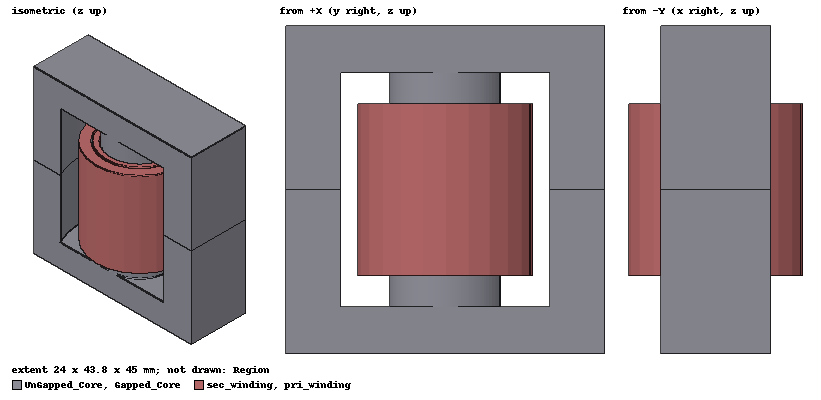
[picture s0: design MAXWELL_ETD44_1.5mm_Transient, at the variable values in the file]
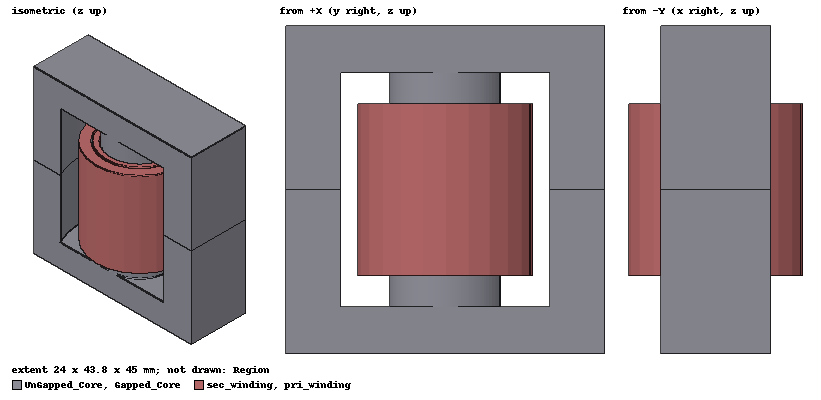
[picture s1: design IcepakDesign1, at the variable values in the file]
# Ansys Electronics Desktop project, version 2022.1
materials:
  copper: permeability=0.999991 conductivity=58000000 thermal_conductivity=400 mass_density=8933 specific_heat=385 youngs_modulus=120000000000 poissons_ratio=0.38 thermal_expansion_coefficient=1.77e-05
  ferrite_N87_ETD44: permittivity=12 permeability=1650 conductivity=0.01 thermal_conductivity=4 mass_density=4600 specific_heat=750 youngs_modulus=119000000000 thermal_expansion_coefficient=1e-05
  vacuum: permittivity=1
  Ferrite_N87_ETD45_Coreloss: permittivity=12 permeability=1650 conductivity=0.01 thermal_conductivity=4 core_loss_type="B-P Curve" mass_density=4600 specific_heat=750 youngs_modulus=119000000000 thermal_expansion_coefficient=1e-05 core_loss_equiv_cut_depth=0.001meter core_loss_curves{PUnit=kw/m^3 BUnit=mTesla Frequency=100kHz Thickness=0.5mm BPCoordinates{DimUnits("", "") Points(0, 0, 30, 2, 40, 4, 50, 8, 60, 15, 70, 20, 80, 30, 90, 40, 100, 50, 200, 300)}}
  air: permittivity=1.0006 permeability=1.0000004 thermal_conductivity=0.0261 mass_density=1.1614 specific_heat=1005 thermal_expansion_coefficient=0.00333 thermal_material_type=Fluid diffusivity=2.88e-05 molecular_mass=0.028966 viscosity=1.84e-05 material_refractive_index=1.000293
  Al-Extruded: thermal_conductivity=205 mass_density=2800 specific_heat=900 youngs_modulus=69000000000 poissons_ratio=0.33 thermal_expansion_coefficient=2.277e-06 thermal_material_type=Solid
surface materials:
  Steel-oxidised-surface: surface_emissivity=0.8

design MAXWELL_ETD44_1.5mm_Transient (Maxwell 3D, Transient, model units mm)
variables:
  gap = 0mm
  air_gap = 1.5mm
  coil_current = 276A
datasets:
  Pri: (0, 2.7300081) (1e-07, 2.7625636) (2e-07, 2.7951192) (3e-07, 2.8276747) (4e-07, 2.8602303) (5e-07, 2.8927859) (6e-07, 2.9253414) (7e-07, 2.957897) (8e-07, 2.9904525) (9e-07, 3.0230081) (1e-06, 3.0555636) (1.1e-06, 3.0881192) (1.2e-06, 3.1206747) (1.3e-06, 3.1532303) (1.4e-06, 3.1857858) (1.5e-06, 3.2183414) (1.6e-06, 3.250897) (1.7e-06, 3.2834525) (1.8e-06, 0) (1.9e-06, 0) (2e-06, 0) (2.1e-06, 0) (2.2e-06, 0) (2.3e-06, 0) (2.4e-06, 0) (2.5e-06, 0) (2.6e-06, 0) (2.7e-06, 0) (2.8e-06, 0) (2.9e-06, 0) (3e-06, 0) (3.1e-06, 0) (3.2e-06, 0) (3.3e-06, 0) (3.4e-06, 0) (3.5e-06, 0) (3.6e-06, 0) (3.7e-06, 0) (3.8e-06, 0) (3.9e-06, 0) (4e-06, 0) (4.1e-06, 0) (4.2e-06, 0) (4.3e-06, 0) (4.4e-06, 0) (4.5e-06, 0) (4.6e-06, 0) (4.7e-06, 0) (4.8e-06, 0) (4.9e-06, 0) (5e-06, 0) (5.1e-06, 0) (5.2e-06, 0) (5.3e-06, 0) (5.4e-06, 0) (5.5e-06, 0) (5.6e-06, 0) (5.7e-06, 0) (5.8e-06, 0) (5.9e-06, 0) (6e-06, 0) (6.1e-06, 0) (6.2e-06, 0) (6.3e-06, 0) (6.4e-06, 0) (6.5e-06, 0) (6.6e-06, 0) (6.7e-06, 0) (6.8e-06, 0) (6.9e-06, 0) (7e-06, 0) (7.1e-06, 0) (7.2e-06, 0) (7.3e-06, 0) (7.4e-06, 0) (7.5e-06, 0) (7.6e-06, 0) (7.7e-06, 0) (7.8e-06, 0) (7.9e-06, 0) (8e-06, 0) (8.1e-06, 0) (8.2e-06, 0) (8.3e-06, 0) (8.4e-06, 0) (8.5e-06, 0) (8.6e-06, 0) (8.7e-06, 0) (8.8e-06, 0) (8.9e-06, 0) (9e-06, 0) (9.1e-06, 0) (9.2e-06, 0) (9.3e-06, 0) (9.4e-06, 0) (9.5e-06, 0) (9.6e-06, 0) (9.7e-06, 0) (9.8e-06, 0) (9.9e-06, 0) (1e-05, 2.7300081) (1.01e-05, 2.7625636) (1.02e-05, 2.7951192) (1.03e-05, 2.8276747) (1.04e-05, 2.8602303) (1.05e-05, 2.8927859) (1.06e-05, 2.9253414) (1.07e-05, 2.957897) (1.08e-05, 2.9904525) (1.09e-05, 3.0230081) (1.1e-05, 3.0555636) (1.11e-05, 3.0881192) (1.12e-05, 3.1206747) (1.13e-05, 3.1532303) (1.14e-05, 3.1857858) (1.15e-05, 3.2183414) (1.16e-05, 3.250897) (1.17e-05, 3.2834525) (1.18e-05, 0) (1.19e-05, 0)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
  Sec: (0, -1.3855501e-12) (1e-07, -1.3855383e-12) (2e-07, -1.3855248e-12) (3e-07, -1.3855114e-12) (4e-07, -1.3854979e-12) (5e-07, -1.3854845e-12) (6e-07, -1.385471e-12) (7e-07, -1.3854576e-12) (8e-07, -1.3854441e-12) (9e-07, -1.3854307e-12) (1e-06, -1.3854172e-12) (1.1e-06, -1.3854038e-12) (1.2e-06, -1.3853903e-12) (1.3e-06, -1.3853769e-12) (1.4e-06, -1.3853634e-12) (1.5e-06, -1.38535e-12) (1.6e-06, -1.3853365e-12) (1.7e-06, -1.3853231e-12) (1.8e-06, 8.4516897) (1.9e-06, 8.4333752) (2e-06, 8.4150604) (2.1e-06, 8.3967454) (2.2e-06, 8.3784301) (2.3e-06, 8.3601144) (2.4e-06, 8.3417985) (2.5e-06, 8.3234823) (2.6e-06, 8.3051658) (2.7e-06, 8.286849) (2.8e-06, 8.2685319) (2.9e-06, 8.2502145) (3e-06, 8.2318968) (3.1e-06, 8.2135789) (3.2e-06, 8.1952606) (3.3e-06, 8.1769421) (3.4e-06, 8.1586233) (3.5e-06, 8.1403042) (3.6e-06, 8.1219849) (3.7e-06, 8.1036653) (3.8e-06, 8.0853454) (3.9e-06, 8.0670253) (4e-06, 8.0487049) (4.1e-06, 8.0303842) (4.2e-06, 8.0120633) (4.3e-06, 7.9937422) (4.4e-06, 7.9754208) (4.5e-06, 7.9570992) (4.6e-06, 7.9387773) (4.7e-06, 7.9204552) (4.8e-06, 7.9021328) (4.9e-06, 7.8838102) (5e-06, 7.8654874) (5.1e-06, 7.8471644) (5.2e-06, 7.8288411) (5.3e-06, 7.8105176) (5.4e-06, 7.7921939) (5.5e-06, 7.77387) (5.6e-06, 7.7555459) (5.7e-06, 7.7372216) (5.8e-06, 7.718897) (5.9e-06, 7.7005723) (6e-06, 7.6822473) (6.1e-06, 7.6639222) (6.2e-06, 7.6455968) (6.3e-06, 7.6272713) (6.4e-06, 7.6089456) (6.5e-06, 7.5906197) (6.6e-06, 7.5722936) (6.7e-06, 7.5539673) (6.8e-06, 7.5356408) (6.9e-06, 7.5173142) (7e-06, 7.4989874) (7.1e-06, 7.4806604) (7.2e-06, 7.4623333) (7.3e-06, 7.444006) (7.4e-06, 7.4256785) (7.5e-06, 7.4073509) (7.6e-06, 7.3890232) (7.7e-06, 7.3706952) (7.8e-06, 7.3523671) (7.9e-06, 7.3340389) (8e-06, 7.3157106) (8.1e-06, 7.2973821) (8.2e-06, 7.2790534) (8.3e-06, 7.2607246) (8.4e-06, 7.2423957) (8.5e-06, 7.2240667) (8.6e-06, 7.2057375) (8.7e-06, 7.1874082) (8.8e-06, 7.1690788) (8.9e-06, 7.1507493) (9e-06, 7.1324196) (9.1e-06, 7.1140899) (9.2e-06, 7.09576) (9.3e-06, 7.07743) (9.4e-06, 7.0591) (9.5e-06, 7.0407698) (9.6e-06, 7.0224395) (9.7e-06, 7.0041091) (9.8e-06, 6.9857787) (9.9e-06, 6.9674481) (1e-05, -1.3855501e-12) (1.01e-05, -1.3855383e-12) (1.02e-05, -1.3855248e-12) (1.03e-05, -1.3855114e-12) (1.04e-05, -1.3854979e-12) (1.05e-05, -1.3854845e-12) (1.06e-05, -1.385471e-12) (1.07e-05, -1.3854576e-12) (1.08e-05, -1.3854441e-12) (1.09e-05, -1.3854307e-12) (1.1e-05, -1.3854172e-12) (1.11e-05, -1.3854038e-12) (1.12e-05, -1.3853903e-12) (1.13e-05, -1.3853769e-12) (1.14e-05, -1.3853634e-12) (1.15e-05, -1.38535e-12) (1.16e-05, -1.3853365e-12) (1.17e-05, -1.3853231e-12) (1.18e-05, 8.4516897) (1.19e-05, 8.4333752)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
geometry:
  Core_A = box(corner=(0mm, 0mm, 0mm), size=(15.2mm, 43.8mm, 22.5mm))
  Cylinder1 = cylinder(axis=Z, base_centre=(7.6mm, 21.9mm, 6.4mm), radius=16.25mm, height=16.1mm)
  Core_A.subtract(Cylinder1)
  UnGapped_Core [Ferrite_N87_ETD45_Coreloss] = cylinder(axis=Z, base_centre=(7.6mm, 21.9mm, 0mm), radius=7.6mm, height=22.5mm)
  UnGapped_Core.unite(Core_A)
  Gapped_Core [Ferrite_N87_ETD45_Coreloss] = box(corner=(0mm, 0mm, 45mm), size=(15.2mm, 43.8mm, -22.5mm))
  Cylinder2 = cylinder(axis=Z, base_centre=(7.6mm, 21.9mm, 22.5mm), radius=16.25mm, height=16.1mm)
  Gapped_Core.subtract(Cylinder2)
  Cylinder3 = cylinder(axis=Z, base_centre=(7.6mm, 21.9mm, 45mm), radius=7.6mm, height=-22.5mm + air_gap)
  Gapped_Core.unite(Cylinder3)
  Region [air] = region(percentage_offset=100 on all sides)
  B_Area [non-model] = circle(normal=Z, centre=(7.6mm, 21.9mm, 22.5mm), radius=40mm)
  point Point1 = (7.6mm, 21.9mm, 22.5mm)
  Polyline1 [non-model] = polyline((8mm, 0mm, 22.5mm) (8mm, 44mm, 22.5mm))
  Polyline2 [non-model] = polyline((7mm, 14mm, 22.5mm) (7mm, 30mm, 22.5mm))
  coordinate_system Coil_Term_Ref = origin=(7.6mm, 0mm, 0mm) x=(1mm, 0mm, 0mm) y=(0mm, 1mm, 0mm)
  coordinate_system coil_winding_ref = origin=(7.6mm, 21.9mm, 9.4mm) x=(1mm, 0mm, 0mm) y=(0mm, 1mm, 0mm)
  RegularPolyhedron1 = polyhedron(axis=Z, centre=(0mm, 0mm, 1.35mm), first_corner=(0mm, 8mm, 0mm), sides=24, height=23.5mm) in coil_winding_ref
  pri_winding [copper] = polyhedron(axis=Z, centre=(0mm, 0mm, 1.35mm), first_corner=(0mm, 9.2mm, 0mm), sides=24, height=23.5mm) in coil_winding_ref
  pri_winding.subtract(RegularPolyhedron1)
  RegularPolyhedron3 = polyhedron(axis=Z, centre=(0mm, 0mm, 1.35mm), first_corner=(0mm, 9.6mm, 0mm), sides=24, height=23.5mm) in coil_winding_ref
  sec_winding [copper] = polyhedron(axis=Z, centre=(0mm, 0mm, 1.35mm), first_corner=(0mm, 12mm, 0mm), sides=24, height=23.5mm) in coil_winding_ref
  sec_winding.subtract(RegularPolyhedron3)
  pri_term [copper] = pri_winding.section(plane=YZ) in Coil_Term_Ref
  sec_term [copper] = sec_winding.section(plane=YZ) in Coil_Term_Ref
  pri_term.separate_bodies()
  sec_term.separate_bodies()
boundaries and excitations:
  pri_coil_term: Coil Terminal Objects=pri_term Conductor_number=69 Winding=Pri Point_out_of_terminal=false
  sec_coil_term: Coil Terminal Objects=sec_term Conductor_number=27 Winding=Sec Point_out_of_terminal=false
  Pri: Winding Group Type=Current IsSolid=false Current=pwl(Pri,Time) ParallelBranchesNum=1
  Sec: Winding Group Type=Current IsSolid=false Current=pwl(Sec,Time) ParallelBranchesNum=1
  core loss on: UnGapped_Core, Gapped_Core
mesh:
  Length1: LengthBased RefineInside Objects=[Gapped_Core, UnGapped_Core] NumMaxElem=5000
  Length2: LengthBased RefineInside Objects=[pri_winding, sec_winding] NumMaxElem=2000
  initial mesh: GlobalCurvilinear{Apply}
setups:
  Setup1: Transient NonlinearSolverResidual=1e-06 ScalarPotential="Second Order" StopTime=40us TimeStep=100ns SaveFieldsType="Every N Steps" N_Steps=1 Steps_From=0s Steps_To=40us NumberSolveSteps=1 RangeStart=0s RangeEnd=0.1s
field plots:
  B_Vector1: B in Gapped_Core, UnGapped_Core on Setup1 : Transient at Time=-1
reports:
  Winding Plot 1: InputCurrent(Pri), InputCurrent(Sec) vs Time on Setup1 : Transient
  Loss Plot 1: CoreLoss vs Time on Setup1 : Transient
  Loss Plot 2: CoreLoss vs Time on Setup1 : Transient
  Loss Plot 3: CoreLoss, StrandedLoss vs Time on Setup1 : Transient

design flyback (Twin Builder)
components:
  PWM1 = PWM(DC=0.18 PERIOD=10us VAL=0 PHASE=0deg TD=0us)
  D1 = D(RR=100000GOhm I=0)
  C1 = C(UseInitialConditions=true C=470uF)
  R3 = R(R=3.84ohm)
  ramp1 = ramp(duration=2m amp=293)
  TFR1P2W1 = TFR1P2W(IP0=0 IS0=0 LM=900uH LS1=0H LS2=0H KTR=0.39 I1=0 I2=0)
  S1 = S(CTRL=PWM1.VAL I=0)
  Excitations2 = ExcitationComponent1(Pri=S1.I Sec=D1.I)
  EC1 = EC(QUANT=ramp1.val)
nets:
  0: TFR1P2W1.3, C1.1, EC1.0, R3.1, S1.1
  net_1: TFR1P2W1.0, EC1.1
  net_12: TFR1P2W1.2, D1.0
  net_13: ramp1.val, EC1.QUANT
  net_16: Excitations2.Pri, S1.I
  net_17: Excitations2.Sec, D1.I
  net_3: TFR1P2W1.1, S1.0
  net_5: PWM1.VAL, S1.CTRL
  net_9: C1.0, D1.1, R3.0
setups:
  TR: TransientData(100ms, 100ns, 100ns, false, "")
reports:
  XY Plot 1: R3.V vs Time on TR : TR
  XY Plot 2: D1.I, S1.I vs Time on TR : TR

design IcepakDesign1 (Icepak, SteadyState TemperatureAndFlow, model units mm)
options: Default_Fluid_Material=air Default_Solid_Material=Al-Extruded Default_Surface_Material=Steel-oxidised-surface AmbientTemperature=20cel AmbientPressure=0n_per_meter_sq AmbientRadiationTemperature=20cel Gravity_Vector_CS_ID=Global Gravity_Vector_Axis=Z Positive=false
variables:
  air_gap = 1.5mm
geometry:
  Region [air] = region(percentage_offset: +X=100, -X=100, +Y=100, -Y=100, +Z=200, -Z=50)
  UnGapped_Core [Ferrite_N87_ETD45_Coreloss] = cylinder(axis=Z, base_centre=(7.6mm, 21.9mm, 0mm), radius=7.6mm, height=22.5mm)
  Core_A = box(corner=(0mm, 0mm, 0mm), size=(15.2mm, 43.8mm, 22.5mm))
  Cylinder1 = cylinder(axis=Z, base_centre=(7.6mm, 21.9mm, 6.4mm), radius=16.25mm, height=16.1mm)
  Core_A.subtract(Cylinder1)
  UnGapped_Core.unite(Core_A)
  Gapped_Core [Ferrite_N87_ETD45_Coreloss] = box(corner=(0mm, 0mm, 45mm), size=(15.2mm, 43.8mm, -22.5mm))
  Cylinder2 = cylinder(axis=Z, base_centre=(7.6mm, 21.9mm, 22.5mm), radius=16.25mm, height=16.1mm)
  Gapped_Core.subtract(Cylinder2)
  Cylinder3 = cylinder(axis=Z, base_centre=(7.6mm, 21.9mm, 45mm), radius=7.6mm, height=-22.5mm + air_gap)
  Gapped_Core.unite(Cylinder3)
  coordinate_system coil_winding_ref = origin=(7.6mm, 21.9mm, 9.4mm) x=(1mm, 0mm, 0mm) y=(0mm, 1mm, 0mm)
  pri_winding [copper] = polyhedron(axis=Z, centre=(0mm, 0mm, 1.35mm), first_corner=(0mm, 9.2mm, 0mm), sides=24, height=23.5mm) in coil_winding_ref
  RegularPolyhedron1 = polyhedron(axis=Z, centre=(0mm, 0mm, 1.35mm), first_corner=(0mm, 8mm, 0mm), sides=24, height=23.5mm) in coil_winding_ref
  pri_winding.subtract(RegularPolyhedron1)
  coordinate_system Coil_Term_Ref = origin=(7.6mm, 0mm, 0mm) x=(1mm, 0mm, 0mm) y=(0mm, 1mm, 0mm)
  sec_winding [copper] = polyhedron(axis=Z, centre=(0mm, 0mm, 1.35mm), first_corner=(0mm, 12mm, 0mm), sides=24, height=23.5mm) in coil_winding_ref
  RegularPolyhedron3 = polyhedron(axis=Z, centre=(0mm, 0mm, 1.35mm), first_corner=(0mm, 9.6mm, 0mm), sides=24, height=23.5mm) in coil_winding_ref
  sec_winding.subtract(RegularPolyhedron3)
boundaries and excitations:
  Opening1: Opening Faces=Region.face(all 6) Temperature=AmbientTemp External_Rad._Temperature=AmbientRadTemp Inlet_Type=Pressure Total_Pressure=AmbientPressure
  EMLoss1: EM Loss Objects=[pri_winding, sec_winding, Gapped_Core, UnGapped_Core] LinkID=44 Project="This Project*" Product=ElectronicsDesktop Design=MAXWELL_ETD44_1.5mm_Transient Params{air_gap=air_gap coil_current=276A gap=0mm} ForceSourceToSolve PathRelativeTo=TargetProject Intrinsics(0us, 40us) LossMultiplier=1
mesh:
  MeshRegions:  Global{MeshMethod=MesherHD ComputeGap MeshRegionResolution=3 MinGapX=1mm MinGapY=1mm MinGapZ=1mm Objects=Region FacetLevel=3 ProximitySizeFunction CurvatureSizeFunction OptimizePCBMesh}
  MeshOperations:
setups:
  Setup1: IcepakSteadyState Flow_Regime=Laminar Include_Temperature=true Include_Flow=true Include_Gravity Solution_Initialization_-_Z_Velocity=0.001m_per_sec Convergence_Criteria_-_Flow=0.001 Convergence_Criteria_-_Energy=1e-07 Convergence_Criteria_-_Discrete_Ordinates=1e-06 disabled Radiation_Model="Discrete Ordinates Model" Flow_Iteration_Per_Radiation_Iteration=5 ThetaDivision=3 PhiDivision=3 ThetaPixels=3 PhiPixels=3 Under-relaxation_-_Pressure=0.3 Under-relaxation_-_Momentum=0.7 Under-relaxation_-_Temperature=1 Discretization_Scheme_-_Pressure=Standard Discretization_Scheme_-_Momentum=First Discretization_Scheme_-_Temperature=First Discretization_Scheme_-_Discrete_Ordinates=First Convergence_Criteria_-_Max_Iterations=100
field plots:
  Temperature1, Temperature3: Temperature over Gapped_Core, UnGapped_Core on Setup1 : SteadyState
  Temperature2: Temperature over pri_winding, sec_winding, Gapped_Core, UnGapped_Core on Setup1 : SteadyState
